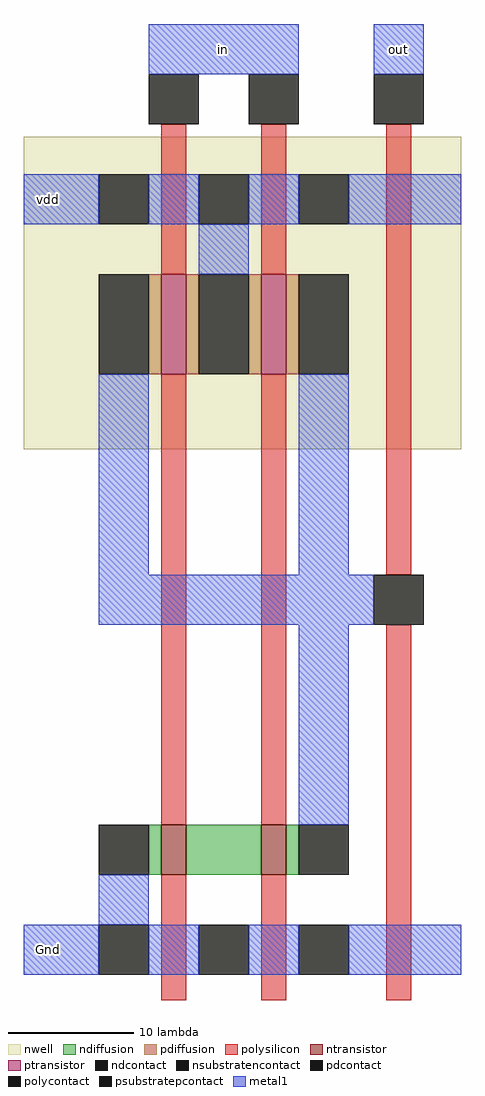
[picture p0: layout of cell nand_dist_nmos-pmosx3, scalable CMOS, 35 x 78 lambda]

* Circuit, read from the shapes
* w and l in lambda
.subckt nand_dist_nmos-pmosx3 Gnd in out vdd
M1 n1 in Gnd Gnd nfet w=4 l=2
M2 out in n1 Gnd nfet w=4 l=2
M3 vdd in out vdd pfet w=8 l=2 m=2
.ends

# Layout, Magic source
magic
tech scmos
<< nwell >>
rect -14 1 21 26
<< ntransistor >>
rect -3 -33 -1 -29
rect 5 -33 7 -29
<< ptransistor >>
rect -3 7 -1 15
rect 5 7 7 15
<< ndiffusion >>
rect -4 -33 -3 -29
rect -1 -33 5 -29
rect 7 -33 8 -29
<< pdiffusion >>
rect -4 7 -3 15
rect -1 7 0 15
rect 4 7 5 15
rect 7 7 8 15
<< ndcontact >>
rect -8 -33 -4 -29
rect 8 -33 12 -29
<< pdcontact >>
rect -8 7 -4 15
rect 0 7 4 15
rect 8 7 12 15
<< psubstratepcontact >>
rect -8 -41 -4 -37
rect 0 -41 4 -37
rect 8 -41 12 -37
<< nsubstratencontact >>
rect -8 19 -4 23
rect 0 19 4 23
rect 8 19 12 23
<< polysilicon >>
rect -3 15 -1 27
rect 5 15 7 27
rect -3 -29 -1 7
rect 5 -29 7 7
rect 15 -9 17 27
rect -3 -43 -1 -33
rect 5 -43 7 -33
rect 15 -43 17 -13
<< polycontact >>
rect -4 27 0 31
rect 4 27 8 31
rect 14 27 18 31
rect 14 -13 18 -9
<< metal1 >>
rect -4 31 8 35
rect 14 31 18 35
rect -14 19 -8 23
rect -4 19 0 23
rect 4 19 8 23
rect 12 19 21 23
rect 0 15 4 19
rect -8 -9 -4 7
rect 8 -9 12 7
rect -8 -13 14 -9
rect 8 -29 12 -13
rect -8 -37 -4 -33
rect -14 -41 -8 -37
rect -4 -41 0 -37
rect 4 -41 8 -37
rect 12 -41 21 -37
<< labels >>
rlabel metal1 14 31 18 35 6 out
rlabel metal1 0 31 4 35 5 in
rlabel metal1 -14 19 -10 23 3 vdd
rlabel metal1 -14 -41 -10 -37 2 Gnd
<< end >>
